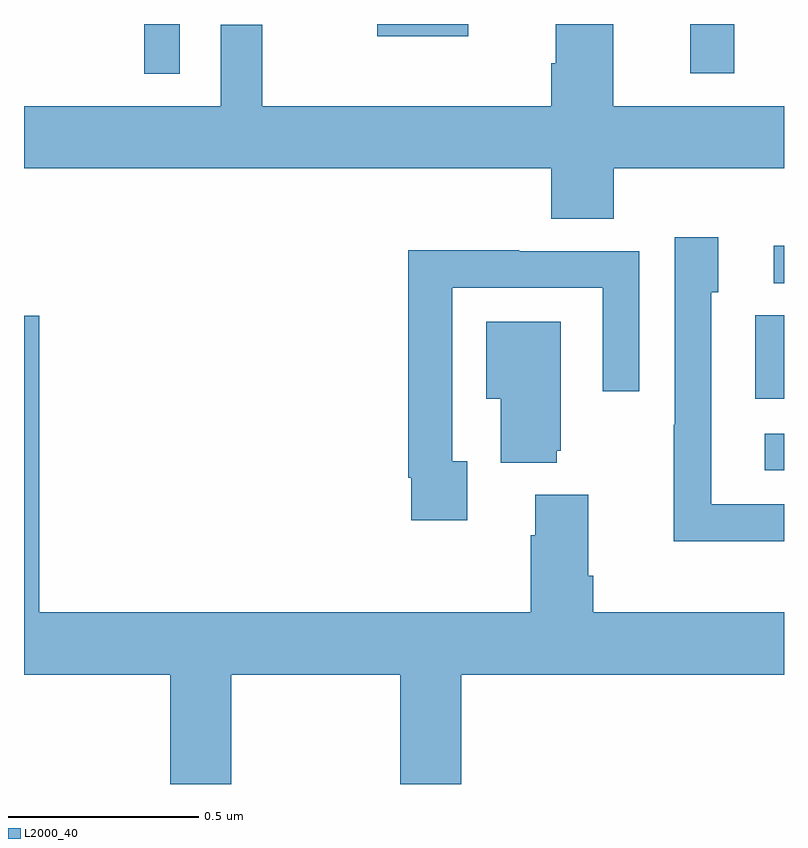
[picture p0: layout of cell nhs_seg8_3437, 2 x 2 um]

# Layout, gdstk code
import gdstk
lib = gdstk.Library(unit=1e-6, precision=1e-09)
def R(c, l, rs):  # rectangles x0, y0, x1, y1
    for r in rs: c.add(gdstk.rectangle(r[:2], r[2:], *l))
def P(c, l, *ps):  # polygons
    for p in ps: c.add(gdstk.Polygon(p, *l))
L2000_40 = (2000, 40)

nhs_seg8_3437 = lib.new_cell('nhs_seg8_3437')
R(nhs_seg8_3437, L2000_40, [(158.949,1095.726,159,1095.822), (158.924,1095.914,159,1096.133), (158.973,1096.218,159,1096.316), (157.317,1096.769,157.41,1096.9), (158.753,1096.77,158.869,1096.9), (157.929,1096.868,158.169,1096.9)])
P(nhs_seg8_3437, L2000_40, [(158.552,1096.52),(159,1096.52),(159,1096.684),(158.551,1096.684),(158.551,1096.9),(158.399,1096.9),(158.399,1096.797),(158.387,1096.797),(158.387,1096.684),(157.627,1096.684),(157.627,1096.898),(157.518,1096.898),(157.518,1096.684),(157,1096.684),(157,1096.52),(158.387,1096.52),(158.387,1096.387),(158.552,1096.387)],
  [(159,1095.636),(158.808,1095.636),(158.808,1096.194),(158.827,1096.194),(158.827,1096.339),(158.712,1096.339),(158.712,1095.845),(158.71,1095.845),(158.71,1095.539),(159,1095.539)],
  [(158.167,1095.75),(158.127,1095.75),(158.127,1096.206),(158.523,1096.206),(158.523,1095.933),(158.619,1095.933),(158.619,1096.302),(158.303,1096.302),(158.303,1096.304),(158.011,1096.304),(158.011,1095.706),(158.019,1095.706),(158.019,1095.594),(158.167,1095.594)],
  [(157.545,1095.188),(157.99,1095.188),(157.99,1094.9),(158.15,1094.9),(158.15,1095.188),(159,1095.188),(159,1095.352),(158.498,1095.352),(158.498,1095.448),(158.485,1095.448),(158.485,1095.661),(158.345,1095.661),(158.345,1095.554),(158.333,1095.554),(158.333,1095.352),(157.04,1095.352),(157.04,1096.132),(157,1096.132),(157,1095.188),(157.385,1095.188),(157.385,1094.9),(157.545,1094.9)],
  [(158.402,1095.777),(158.413,1095.777),(158.413,1096.117),(158.216,1096.117),(158.216,1095.914),(158.255,1095.914),(158.255,1095.746),(158.402,1095.746)])

lib.write_gds('nhs_seg8_3437.gds')
